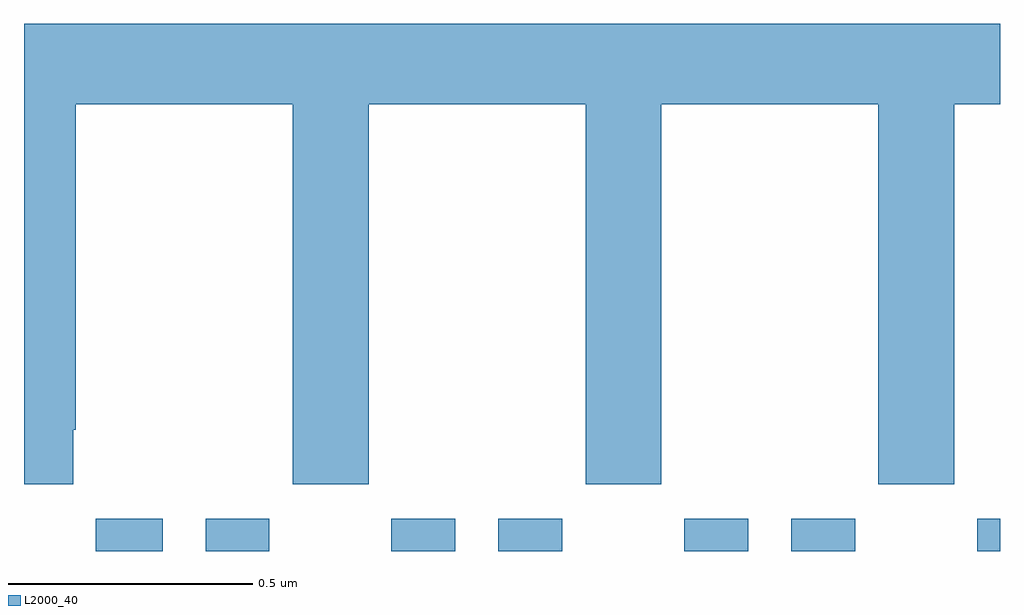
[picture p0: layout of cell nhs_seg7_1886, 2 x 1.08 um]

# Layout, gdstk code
import gdstk
lib = gdstk.Library(unit=1e-6, precision=1e-09)
def R(c, l, rs):  # rectangles x0, y0, x1, y1
    for r in rs: c.add(gdstk.rectangle(r[:2], r[2:], *l))
def P(c, l, *ps):  # polygons
    for p in ps: c.add(gdstk.Polygon(p, *l))
L2000_40 = (2000, 40)

nhs_seg7_1886 = lib.new_cell('nhs_seg7_1886')
R(nhs_seg7_1886, L2000_40, [(137.147,1033,137.284,1033.066), (137.372,1033,137.503,1033.066), (137.753,1033,137.884,1033.066), (137.972,1033,138.103,1033.066), (138.353,1033,138.484,1033.066), (138.572,1033,138.703,1033.066), (138.953,1033,139,1033.066)])
P(nhs_seg7_1886, L2000_40, [(137.101,1033.249),(137.106,1033.249),(137.106,1033.916),(137.551,1033.916),(137.551,1033.137),(137.706,1033.137),(137.706,1033.916),(138.151,1033.916),(138.151,1033.137),(138.306,1033.137),(138.306,1033.916),(138.751,1033.916),(138.751,1033.137),(138.906,1033.137),(138.906,1033.916),(139,1033.916),(139,1034.08),(137,1034.08),(137,1033.137),(137.101,1033.137)])

lib.write_gds('nhs_seg7_1886.gds')
